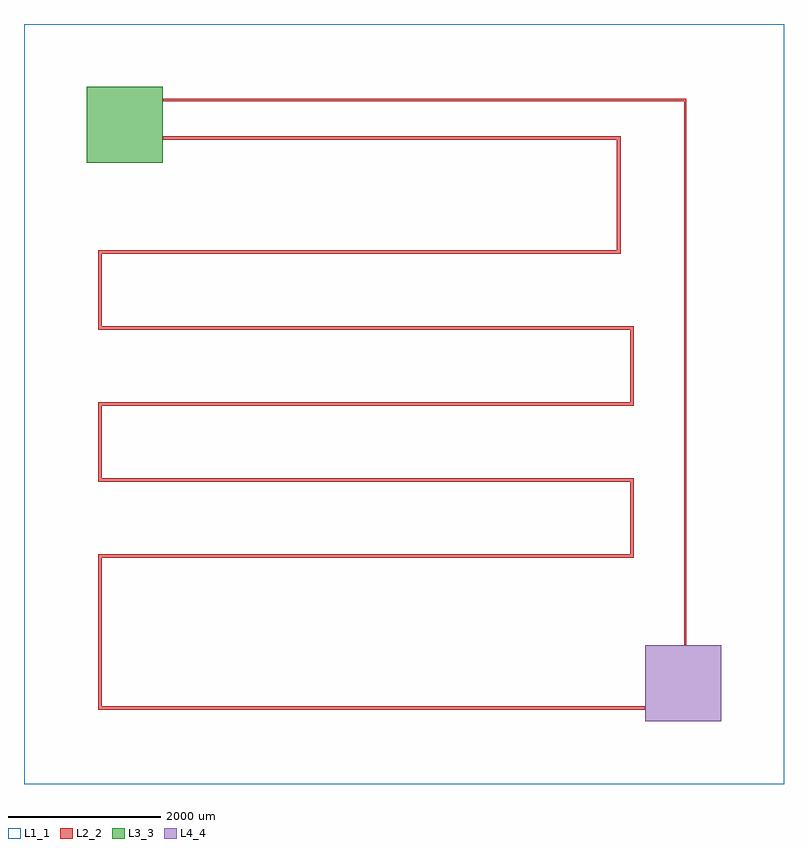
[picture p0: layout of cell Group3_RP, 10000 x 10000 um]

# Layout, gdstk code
import gdstk
lib = gdstk.Library(unit=1e-6, precision=1e-09)
def R(c, l, rs):  # rectangles x0, y0, x1, y1
    for r in rs: c.add(gdstk.rectangle(r[:2], r[2:], *l))
L1_1 = (1, 1)
L2_2 = (2, 2)
L3_3 = (3, 3)
L4_4 = (4, 4)

group3_rp = lib.new_cell('Group3_RP')
R(group3_rp, L1_1, [(-5000,-5000,5000,5000)])
R(group3_rp, L3_3, [(-4175,3175,-3175,4175)])
R(group3_rp, L4_4, [(3175,-4175,4175,-3175)])
group3_rp.add(gdstk.FlexPath([(-3175,3500),(2825,3500),(2825,2000),(-4000,2000),(-4000,1000),(3000,1000),(3000,0),(-4000,0),(-4000,-1000),(3000,-1000),(3000,-2000),(-4000,-2000),(-4000,-4000),(3175,-4000)], 50, ends="flush", simple_path=True, layer=2, datatype=2))  # L2_2
group3_rp.add(gdstk.FlexPath([(-3175,4000),(3700,4000),(3700,-3175)], 30, ends="flush", simple_path=True, layer=2, datatype=2))  # L2_2

lib.write_gds('Group3_RP.gds')
